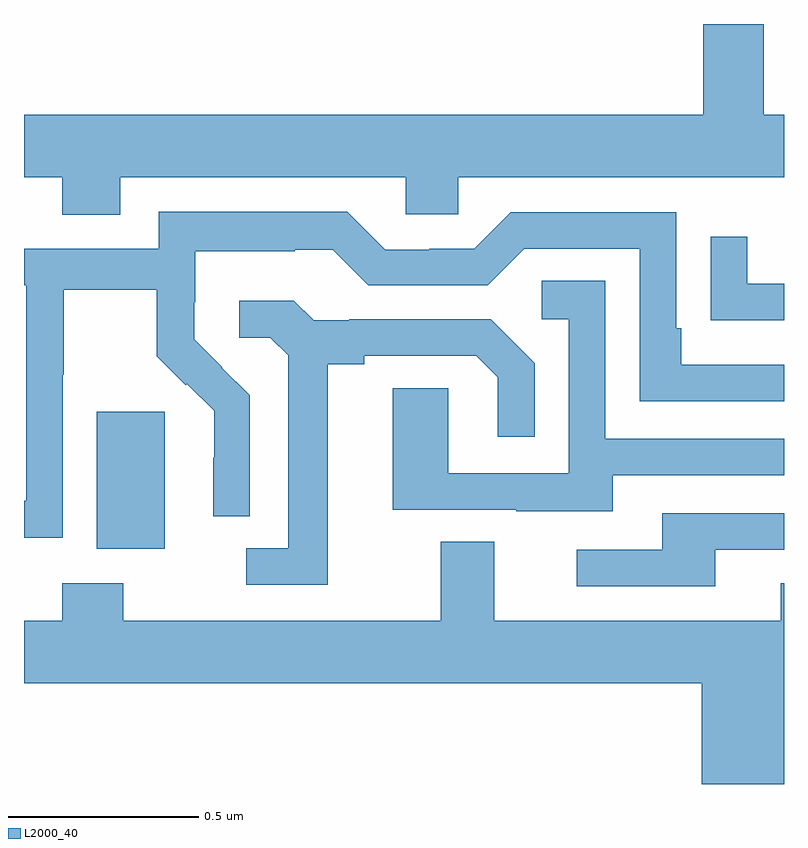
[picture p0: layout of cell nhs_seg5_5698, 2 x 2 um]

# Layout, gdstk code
import gdstk
lib = gdstk.Library(unit=1e-6, precision=1e-09)
def R(c, l, rs):  # rectangles x0, y0, x1, y1
    for r in rs: c.add(gdstk.rectangle(r[:2], r[2:], *l))
def P(c, l, *ps):  # polygons
    for p in ps: c.add(gdstk.Polygon(p, *l))
L2000_40 = (2000, 40)

nhs_seg5_5698 = lib.new_cell('nhs_seg5_5698')
R(nhs_seg5_5698, L2000_40, [(186.191,886.418,186.37,886.779)])
P(nhs_seg5_5698, L2000_40, [(186.253,887.396),(187.005,887.396),(187.005,887.298),(187.143,887.298),(187.143,887.396),(188,887.396),(188,887.56),(187.947,887.56),(187.947,887.799),(187.787,887.799),(187.787,887.56),(186,887.56),(186,887.396),(186.101,887.396),(186.101,887.297),(186.253,887.297)],
  [(186.102,886.876),(186.105,886.876),(186.105,887.1),(186.349,887.1),(186.349,886.925),(186.426,886.848),(186.429,886.851),(186.5,886.781),(186.5,886.658),(186.498,886.658),(186.498,886.504),(186.594,886.504),(186.594,886.822),(186.521,886.895),(186.522,886.896),(186.448,886.97),(186.448,887.067),(186.45,887.067),(186.45,887.201),(186.713,887.201),(186.713,887.205),(186.813,887.205),(186.906,887.112),(187.221,887.112),(187.317,887.208),(187.62,887.208),(187.62,886.806),(188,886.806),(188,886.902),(187.729,886.902),(187.729,886.999),(187.716,886.999),(187.716,887.304),(187.281,887.304),(187.185,887.208),(187.067,887.208),(187.067,887.205),(186.951,887.205),(186.851,887.305),(186.354,887.305),(186.354,887.208),(186,887.208),(186,887.112),(186.006,887.112),(186.006,886.545),(186,886.545),(186,886.447),(186.102,886.447)],
  [(188,887.115),(187.903,887.115),(187.903,887.239),(187.807,887.239),(187.807,887.02),(187.909,887.02),(187.909,887.019),(188,887.019)],
  [(187.549,886.611),(188,886.611),(188,886.707),(187.53,886.707),(187.53,887.123),(187.362,887.123),(187.362,887.022),(187.434,887.022),(187.434,886.617),(187.116,886.617),(187.116,886.841),(186.971,886.841),(186.971,886.521),(187.295,886.521),(187.295,886.517),(187.549,886.517)],
  [(186.799,886.904),(186.895,886.904),(186.895,886.926),(187.19,886.926),(187.247,886.869),(187.247,886.713),(187.344,886.713),(187.344,886.906),(187.228,887.022),(186.856,887.022),(186.856,887.019),(186.762,887.019),(186.71,887.071),(186.567,887.071),(186.567,886.974),(186.648,886.974),(186.695,886.927),(186.695,886.419),(186.585,886.419),(186.585,886.323),(186.799,886.323)],
  [(187.819,886.416),(188,886.416),(188,886.512),(187.679,886.512),(187.679,886.416),(187.455,886.416),(187.455,886.32),(187.819,886.32)],
  [(188,886.327),(187.991,886.327),(187.991,886.228),(187.237,886.228),(187.237,886.436),(187.097,886.436),(187.097,886.228),(186.261,886.228),(186.261,886.327),(186.101,886.327),(186.101,886.228),(186,886.228),(186,886.064),(187.784,886.064),(187.784,885.799),(188,885.799)])

lib.write_gds('nhs_seg5_5698.gds')
